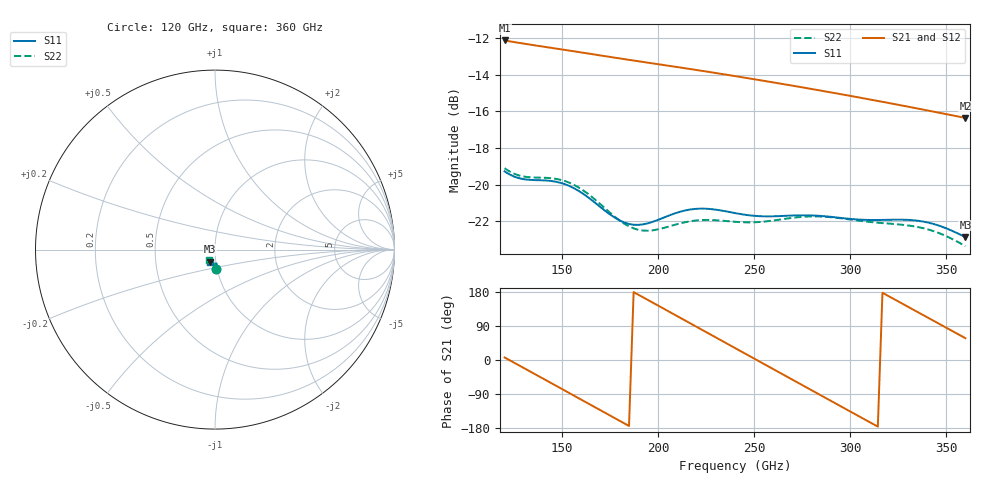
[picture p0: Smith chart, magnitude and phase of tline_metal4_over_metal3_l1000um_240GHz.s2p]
#  GHZ S DB R 50
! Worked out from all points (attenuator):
!   101 points, 120 GHz to 360 GHz, reference 50 ohm
!   highest |S21| = -12.14 dB at 120 GHz (marker M1); lowest = -16.4 dB at 360 GHz (marker M2)
!   lowest |S11| = -22.9 dB at 360 GHz (marker M3), VSWR 1.15, Z = 46.9 - j6.25 ohm
!   |S11| at or under -10 dB: start of sweep to end of sweep
!   |S22| runs from -23.4 to -19.1 dB; largest |S21 - S12| = 2e-13
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120  -19.28 -86.0  -12.14 6.7  -12.14 6.7  -19.11 -87.4
129.6  -19.70 -83.8  -12.31 -20.0  -12.31 -20.0  -19.55 -85.4
141.6  -19.78 -84.1  -12.50 -53.5  -12.50 -53.5  -19.63 -85.9
151.2  -19.97 -86.9  -12.65 -80.3  -12.65 -80.3  -19.80 -89.1
160.8  -20.49 -89.9  -12.81 -107.1  -12.81 -107.1  -20.31 -92.8
172.8  -21.46 -90.8  -13.01 -140.6  -13.01 -140.6  -21.34 -95.1
182.4  -22.07 -88.3  -13.16 -167.4  -13.16 -167.4  -22.14 -93.6
192  -22.17 -84.8  -13.31 165.8  -13.31 165.8  -22.51 -90.2
201.6  -21.85 -83.1  -13.46 139.0  -13.46 139.0  -22.40 -87.6
211.2  -21.49 -84.1  -13.61 112.1  -13.61 112.1  -22.12 -87.4
220.8  -21.32 -86.7  -13.77 85.3  -13.77 85.3  -21.95 -88.9
240  -21.55 -91.2  -14.09 31.6  -14.09 31.6  -22.03 -92.2
249.6  -21.70 -92.2  -14.25 4.8  -14.25 4.8  -22.06 -93.0
259.2  -21.73 -92.9  -14.42 -22.0  -14.42 -22.0  -21.97 -93.9
271.2  -21.68 -94.6  -14.63 -55.5  -14.63 -55.5  -21.80 -96.2
280.8  -21.69 -96.4  -14.80 -82.3  -14.80 -82.3  -21.73 -98.9
290.4  -21.76 -98.3  -14.98 -109.1  -14.98 -109.1  -21.78 -101.7
302.4  -21.89 -100.1  -15.21 -142.5  -15.21 -142.5  -21.94 -104.8
312  -21.93 -101.4  -15.39 -169.2  -15.39 -169.2  -22.05 -107.0
321.6  -21.92 -103.1  -15.58 164.1  -15.58 164.1  -22.14 -109.3
340.8  -22.08 -108.4  -15.97 110.8  -15.97 110.8  -22.45 -115.4
360  -22.86 -112.8  -16.37 57.6  -16.37 57.6  -23.36 -121.0
